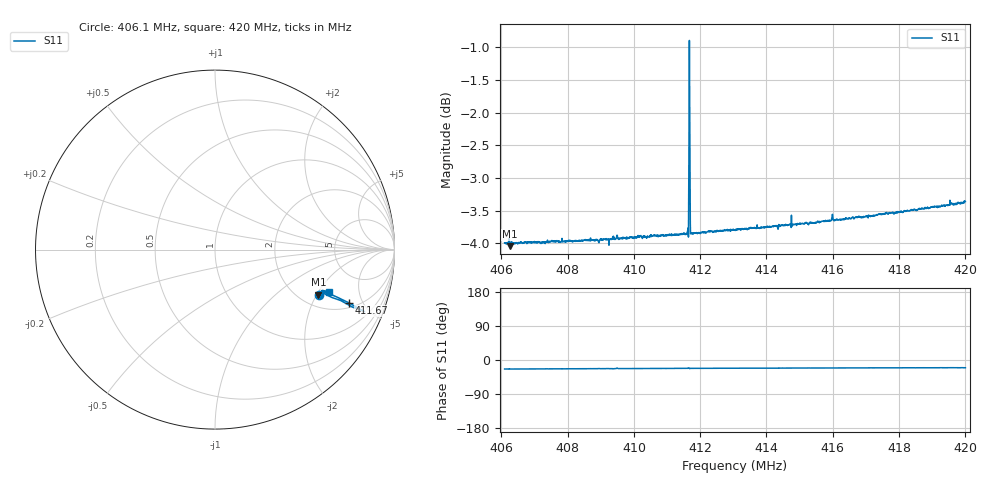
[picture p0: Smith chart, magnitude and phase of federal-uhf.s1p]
! Calibrated averaged scanner-service zoom
# Hz S RI R 50
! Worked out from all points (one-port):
!   2001 points, 406.1 MHz to 420 MHz, reference 50 ohm
!   lowest |S11| = -4.0 dB at 406.25 MHz (marker M1), VSWR 4.37, Z = 125 - j103 ohm
!   |S11| at or under -10 dB: nowhere
!   S11 on the Smith chart (normalised r, x): 406.1 MHz: 2.47, -2.10; 411.67 MHz: 2.34, -3.88; 420 MHz: 2.86, -2.52
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4.061e8  0.5779 -0.2547
4.062529e8  0.5756 -0.2508
4.078375e8  0.5812 -0.2502
4.089008e8  0.5852 -0.2466
4.093874e8  0.5869 -0.2498
4.094986e8  0.5956 -0.2344
4.09575e8  0.5872 -0.2457
4.113125e8  0.5935 -0.2412
4.115766e8  0.5943 -0.2402
4.115905e8  0.5946 -0.2406
4.115974e8  0.5952 -0.2405
4.116044e8  0.5962 -0.2402
4.116114e8  0.5955 -0.2417
4.116183e8  0.5971 -0.244
4.116322e8  0.5962 -0.2348
4.11667e8  0.7449 -0.296
4.117226e8  0.5953 -0.2411
4.117295e8  0.5952 -0.2403
4.117434e8  0.5953 -0.2409
4.117504e8  0.5948 -0.2416
4.117573e8  0.5955 -0.2408
4.117642e8  0.5949 -0.2407
4.117782e8  0.5951 -0.2408
4.1305e8  0.6002 -0.2396
4.147875e8  0.608 -0.237
4.16525e8  0.6161 -0.2339
4.182625e8  0.6257 -0.2348
4.2e8  0.6364 -0.2375
